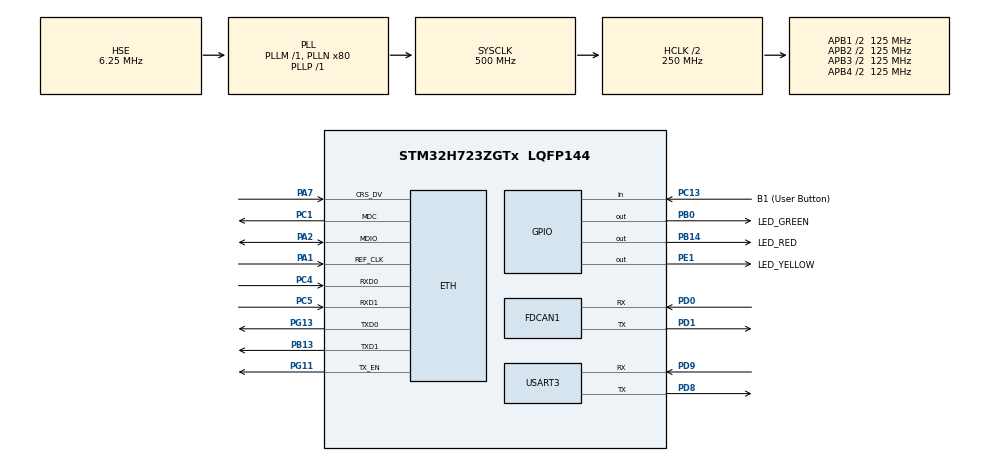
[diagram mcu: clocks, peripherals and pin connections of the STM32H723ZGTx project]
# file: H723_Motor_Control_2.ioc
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CORTEX_M7.AccessPermission-Cortex_Memory_Protection_Unit_Region1_Settings=MPU_REGION_FULL_ACCESS
CORTEX_M7.AccessPermission-Cortex_Memory_Protection_Unit_Region2_Settings=MPU_REGION_FULL_ACCESS
CORTEX_M7.AccessPermission_S-Cortex_Memory_Protection_Unit_Region1_Settings_S=MPU_REGION_FULL_ACCESS
CORTEX_M7.AccessPermission_S-Cortex_Memory_Protection_Unit_Region2_Settings_S=MPU_REGION_FULL_ACCESS
CORTEX_M7.BaseAddress-Cortex_Memory_Protection_Unit_Region1_Settings=0x30000000
CORTEX_M7.BaseAddress-Cortex_Memory_Protection_Unit_Region2_Settings=0x30004000
CORTEX_M7.BaseAddress_S-Cortex_Memory_Protection_Unit_Region1_Settings_S=0x30000000
CORTEX_M7.BaseAddress_S-Cortex_Memory_Protection_Unit_Region2_Settings_S=0x30004000
CORTEX_M7.CPU_DCache=Enabled
CORTEX_M7.CPU_ICache=Enabled
CORTEX_M7.DisableExec-Cortex_Memory_Protection_Unit_Region0_Settings=MPU_INSTRUCTION_ACCESS_DISABLE
CORTEX_M7.Enable-Cortex_Memory_Protection_Unit_Region0_Settings=MPU_REGION_ENABLE
CORTEX_M7.Enable-Cortex_Memory_Protection_Unit_Region1_Settings=MPU_REGION_ENABLE
CORTEX_M7.Enable-Cortex_Memory_Protection_Unit_Region2_Settings=MPU_REGION_ENABLE
CORTEX_M7.Enable_S-Cortex_Memory_Protection_Unit_Region1_Settings_S=MPU_REGION_ENABLE
CORTEX_M7.Enable_S-Cortex_Memory_Protection_Unit_Region2_Settings_S=MPU_REGION_ENABLE
CORTEX_M7.IsBufferable-Cortex_Memory_Protection_Unit_Region1_Settings=MPU_ACCESS_BUFFERABLE
CORTEX_M7.IsBufferable_S-Cortex_Memory_Protection_Unit_Region1_Settings_S=MPU_ACCESS_BUFFERABLE
CORTEX_M7.IsShareable-Cortex_Memory_Protection_Unit_Region0_Settings=MPU_ACCESS_SHAREABLE
CORTEX_M7.IsShareable-Cortex_Memory_Protection_Unit_Region2_Settings=MPU_ACCESS_SHAREABLE
CORTEX_M7.IsShareable_S-Cortex_Memory_Protection_Unit_Region2_Settings_S=MPU_ACCESS_SHAREABLE
CORTEX_M7.MPU_Control=MPU_PRIVILEGED_DEFAULT
CORTEX_M7.Size-Cortex_Memory_Protection_Unit_Region0_Settings=MPU_REGION_SIZE_4GB
CORTEX_M7.Size-Cortex_Memory_Protection_Unit_Region1_Settings=MPU_REGION_SIZE_1KB
CORTEX_M7.Size-Cortex_Memory_Protection_Unit_Region2_Settings=MPU_REGION_SIZE_16KB
CORTEX_M7.Size_S-Cortex_Memory_Protection_Unit_Region1_Settings_S=MPU_REGION_SIZE_1KB
CORTEX_M7.Size_S-Cortex_Memory_Protection_Unit_Region2_Settings_S=MPU_REGION_SIZE_16KB
CORTEX_M7.SubRegionDisable-Cortex_Memory_Protection_Unit_Region0_Settings=0x87
CORTEX_M7.TypeExtField-Cortex_Memory_Protection_Unit_Region2_Settings=MPU_TEX_LEVEL1
CORTEX_M7.TypeExtField_S-Cortex_Memory_Protection_Unit_Region2_Settings_S=MPU_TEX_LEVEL1
CORTEX_M7.default_mode_Activation=0
ETH.MediaInterface=HAL_ETH_RMII_MODE
ETH.RxBuffLen=1536
ETH.RxBufferAddress=0x30000200
ETH.TxDescAddress=0x30000100
FDCAN1.AutoRetransmission=ENABLE
FDCAN1.CalculateBaudRateNominal=1000000
FDCAN1.CalculateTimeBitNominal=1000
FDCAN1.CalculateTimeQuantumNominal=50.0
FDCAN1.NominalPrescaler=5
FDCAN1.NominalTimeSeg1=15
FDCAN1.NominalTimeSeg2=4
FDCAN1.RxFifo0ElmtsNbr=8
FDCAN1.StdFiltersNbr=1
FDCAN1.TxFifoQueueElmtsNbr=3
LWIP.BSP.number=1
LWIP.GATEWAY_ADDRESS=192.168.050.001
LWIP.IP_ADDRESS=192.168.050.123
LWIP.LWIP_DHCP=0
LWIP.MEM_SIZE=10*1024
LWIP.NETMASK_ADDRESS=255.255.255.000
LWIP.PBUF_POOL_BUFSIZE=1536
LWIP.TCP_QUEUE_OOSEQ=0
LWIP.Version=v2.1.2_Cube
LWIP0.BSP.STBoard=false
LWIP0.BSP.api=BSP_COMPONENT_DRIVER
LWIP0.BSP.component=LAN8742
LWIP0.BSP.instance=LAN8742
LWIP0.BSP.name=Driver_PHY
LWIP0.BSP.semaphore=S_LAN8742
LWIP0.BSP.solution=LAN8742
Mcu.Family=STM32H7
Mcu.Name=STM32H723ZGTx
Mcu.Package=LQFP144
NVIC.ETH_IRQn=true\:0\:0\:false\:false\:true\:true\:true\:true
NVIC.PriorityGroup=NVIC_PRIORITYGROUP_4
NVIC.TIM2_IRQn=true\:0\:0\:false\:false\:true\:true\:true\:true
PA1.GPIO_Speed=GPIO_SPEED_FREQ_VERY_HIGH
PA1.Mode=RMII
PA1.Signal=ETH_REF_CLK
PA13(JTMS/SWDIO).GPIO_Label=SWDIO
PA13(JTMS/SWDIO).Signal=DEBUG_JTMS-SWDIO
PA14(JTCK/SWCLK).GPIO_Label=SWCLK
PA14(JTCK/SWCLK).Signal=DEBUG_JTCK-SWCLK
PA2.GPIO_Speed=GPIO_SPEED_FREQ_VERY_HIGH
PA2.Mode=RMII
PA2.Signal=ETH_MDIO
PA7.GPIO_Speed=GPIO_SPEED_FREQ_VERY_HIGH
PA7.Mode=RMII
PA7.Signal=ETH_CRS_DV
PB0.GPIO_Label=LED_GREEN
PB0.Signal=GPIO_Output
PB13.GPIO_Speed=GPIO_SPEED_FREQ_VERY_HIGH
PB13.Mode=RMII
PB13.Signal=ETH_TXD1
PB14.GPIO_Label=LED_RED
PB14.Signal=GPIO_Output
PC1.GPIO_Speed=GPIO_SPEED_FREQ_VERY_HIGH
PC1.Mode=RMII
PC1.Signal=ETH_MDC
PC13.GPIO_Label=B1 (User Button)
PC13.Signal=GPIO_Input
PC14-OSC32_IN.Signal=RCC_OSC32_IN
PC15-OSC32_OUT.Signal=RCC_OSC32_OUT
PC4.GPIO_Speed=GPIO_SPEED_FREQ_VERY_HIGH
PC4.Mode=RMII
PC4.Signal=ETH_RXD0
PC5.GPIO_Speed=GPIO_SPEED_FREQ_VERY_HIGH
PC5.Mode=RMII
PC5.Signal=ETH_RXD1
PD0.GPIO_Speed=GPIO_SPEED_FREQ_VERY_HIGH
PD0.Mode=FDCAN_Activate
PD0.Signal=FDCAN1_RX
PD1.GPIO_Speed=GPIO_SPEED_FREQ_VERY_HIGH
PD1.Mode=FDCAN_Activate
PD1.Signal=FDCAN1_TX
PD8.Mode=Asynchronous
PD8.Signal=USART3_TX
PD9.Mode=Asynchronous
PD9.Signal=USART3_RX
PE1.GPIO_Label=LED_YELLOW
PE1.Signal=GPIO_Output
PG11.GPIO_Speed=GPIO_SPEED_FREQ_VERY_HIGH
PG11.Mode=RMII
PG11.Signal=ETH_TX_EN
PG13.GPIO_Speed=GPIO_SPEED_FREQ_VERY_HIGH
PG13.Mode=RMII
PG13.Signal=ETH_TXD0
PH0-OSC_IN.Mode=HSE-External-Oscillator
PH0-OSC_IN.Signal=RCC_OSC_IN
PH1-OSC_OUT.Mode=HSE-External-Oscillator
PH1-OSC_OUT.Signal=RCC_OSC_OUT
ProjectManager.HeapSize=0x400
ProjectManager.StackSize=0x800
ProjectManager.TargetToolchain=STM32CubeIDE
RCC.ADCFreq_Value=59375000
RCC.APB1Freq_Value=125000000
RCC.APB2Freq_Value=125000000
RCC.APB3Freq_Value=125000000
RCC.APB4Freq_Value=125000000
RCC.CortexFreq_Value=500000000
RCC.D1PPRE=RCC_APB3_DIV2
RCC.D2PPRE1=RCC_APB1_DIV2
RCC.D2PPRE2=RCC_APB2_DIV2
RCC.D3PPRE=RCC_APB4_DIV2
RCC.DIVM1=1
RCC.DIVM2=1
RCC.DIVN1=80
RCC.DIVN2=19
RCC.DIVP1=1
RCC.DIVQ1=5
RCC.HCLKFreq_Value=250000000
RCC.HPRE=RCC_HCLK_DIV2
RCC.HSE_VALUE=6250000
RCC.PLLFRACN=0
RCC.PLLSourceVirtual=RCC_PLLSOURCE_HSE
RCC.SYSCLKFreq_VALUE=500000000
RCC.SYSCLKSource=RCC_SYSCLKSOURCE_PLLCLK
RCC.USBCLockSelection=RCC_USBCLKSOURCE_HSI48
RCC.USBFreq_Value=48000000
TIM2.Period=1000-1
TIM2.Prescaler=250-1
USART3.VirtualMode-Asynchronous=VM_ASYNC
VP_LWIP_VS_Enabled.Mode=Enabled
VP_MEMORYMAP_VS_MEMORYMAP.Mode=CurAppReg
VP_TIM2_VS_ClockSourceINT.Mode=Internal
board=NUCLEO-H723ZG

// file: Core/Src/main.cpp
/* USER CODE BEGIN Header */
/**
  ******************************************************************************
  * @file           : main.c
  * @brief          : Main program body
  ******************************************************************************
  * @attention
  *
  * Copyright (c) 2025 STMicroelectronics.
  * All rights reserved.
  *
  * This software is licensed under terms that can be found in the LICENSE file
  * in the root directory of this software component.
  * If no LICENSE file comes with this software, it is provided AS-IS.
  *
  ******************************************************************************
  */
/* USER CODE END Header */
#include "main.h"
#include "lwip.h"

/* USER CODE BEGIN Includes */
#include <cmath>
#include <cstdio>
#include <cstring>
#include <cstdint>
#include "udp_client.h"
#include "udp_app.h"
#include "udp_app.h"
#include "myactuator_rmd/actuator_interface.hpp"
#include "myactuator_rmd/actuator_state/acceleration_type.hpp"
#include "myactuator_rmd/actuator_state/feedback.hpp"
#include "stm32_can_driver.hpp"
#include "stm32h7xx_ll_usart.h"
#include <algorithm>   // for std::clamp
/* USER CODE END Includes */

FDCAN_HandleTypeDef hfdcan1;

TIM_HandleTypeDef htim2;

UART_HandleTypeDef huart3;

/* USER CODE BEGIN PV */
extern uint8_t netif_up_flag;

namespace {
  constexpr uint32_t kMotorCanId = 1U;
  constexpr uint32_t kSpeedAccelDps2 = 8000U;
  constexpr float kDesiredAngleDeg = 0.0f;
  constexpr float kSpringCoefficient = 0.00002f;
  constexpr float kTorqueLimitNm = 4.0f;
  constexpr float kTorqueConstantNmPerA = 0.18f;
  constexpr uint32_t kLedBlinkPeriodMs = 500U;
  }
/* USER CODE END PV */

void SystemClock_Config(void);
static void MPU_Config(void);
static void MX_GPIO_Init(void);
static void MX_FDCAN1_Init(void);
static void MX_TIM2_Init(void);
static void MX_USART3_UART_Init(void);
/* USER CODE BEGIN PFP */
static void ConfigureMotor(myactuator_rmd::ActuatorInterface& motor);
static void PrintText(const char* text);
static void PrintFeedback(myactuator_rmd::Feedback const& feedback);
static void PrintRawBytes(uint8_t const* data, uint16_t length);
static void WriteAccelerationRaw(std::uint32_t acceleration, myactuator_rmd::AccelerationType mode);
static void InitCycleCounter(void);
static char const* ControlModeToString(myactuator_rmd::ControlMode mode);
/* USER CODE END PFP */

/* USER CODE BEGIN 0 */
extern "C" int _write(int file, char *ptr, int len)
{
    HAL_UART_Transmit(&huart3, reinterpret_cast<uint8_t *>(ptr),
                      len,
                      HAL_UART_TIMEOUT_VALUE);
    return len;
}

/* USER CODE END 0 */

int main(void)
{

  /* MPU Configuration--------------------------------------------------------*/
  MPU_Config();

  /* Enable the CPU Cache */

  /* Enable I-Cache---------------------------------------------------------*/
  SCB_EnableICache();

  /* Enable D-Cache---------------------------------------------------------*/
  SCB_EnableDCache();

  /* MCU Configuration--------------------------------------------------------*/

  /* Reset of all peripherals, Initializes the Flash interface and the Systick. */
  HAL_Init();

  /* Configure the system clock */
  SystemClock_Config();

  /* Initialize all configured peripherals */
  MX_GPIO_Init();
  MX_FDCAN1_Init();
  MX_TIM2_Init();
  MX_USART3_UART_Init();
  MX_LWIP_Init();
  InitCycleCounter();
  float const cycles_to_microseconds = 1.0e6f / static_cast<float>(SystemCoreClock);
  /* USER CODE BEGIN 2 */
  HAL_GPIO_WritePin(LED_RED_GPIO_Port, LED_RED_Pin, GPIO_PIN_SET);  // turn on
  while (!netif_up_flag) {
      MX_LWIP_Process();
  }
  HAL_GPIO_WritePin(LED_RED_GPIO_Port, LED_RED_Pin, GPIO_PIN_RESET); // turn off

  udp_app_init();

  Stm32CanDriver can_driver(&hfdcan1);
  myactuator_rmd::ActuatorInterface motor(can_driver, kMotorCanId);

  if (HAL_FDCAN_Start(&hfdcan1) != HAL_OK)
  {
    Error_Handler();
  }

  ConfigureMotor(motor);
  PrintText("\r\nStarting virtual spring torque control...\r\n");

  // Ensure the motor is in torque/current loop before entering real-time control.
  {
    try
    {
      motor.sendTorqueSetpoint(0.0f, kTorqueConstantNmPerA);
      auto const control_mode = motor.getControlMode();
      char buffer[128];
      std::snprintf(buffer,
                    sizeof(buffer),
                    "Motor control mode: %s (0x%02X)\r\n",
                    ControlModeToString(control_mode),
                    static_cast<unsigned>(static_cast<std::uint8_t>(control_mode)));
      PrintText(buffer);
      if (control_mode != myactuator_rmd::ControlMode::CURRENT)
      {
        PrintText("Warning: motor did not report CURRENT loop mode.\r\n");
      }
    }
    catch (const myactuator_rmd::Exception& error)
    {
      char buffer[128];
      std::snprintf(buffer, sizeof(buffer), "Failed to enter torque mode: %s\r\n", error.what());
      PrintText(buffer);
      Error_Handler();
    }
  }

  uint32_t last_led_toggle = 0U;

  /* USER CODE END 2 */

  /* Infinite loop */
  /* USER CODE BEGIN WHILE */
  while (1)
  {
    uint32_t const loop_start_cycles = DWT->CYCCNT;
    bool pending_reply = false;
    myactuator_rmd::Feedback pending_feedback{};
    float pending_torque_cmd = 0.0f;
    float pending_can_time_us = 0.0f;

    MX_LWIP_Process();  // pump lwIP every iteration

    uint32_t const now = HAL_GetTick();

    uint8_t cmd[32];
    uint16_t n = udp_app_try_get_latest(cmd, sizeof(cmd));
    if (n > 0)
    {
      if (n >= sizeof(cmd))
      {
        n = sizeof(cmd) - 1;
      }
      cmd[n] = '\0';

      if (std::strncmp(reinterpret_cast<char*>(cmd), "TORQUE,", 7) == 0)
      {
        char* end = nullptr;
        float new_torque = std::strtof(reinterpret_cast<char*>(cmd) + 7, &end);
        if (end != reinterpret_cast<char*>(cmd) + 7)
        {
          new_torque = std::clamp(new_torque, -kTorqueLimitNm, kTorqueLimitNm);

          pending_feedback = motor.sendTorqueSetpoint(new_torque, kTorqueConstantNmPerA);
          pending_can_time_us = can_driver.getLastWaitTimeUs();
          pending_torque_cmd = new_torque;
          pending_reply = true;
        }
      }
    }

    if ((now - last_led_toggle) >= kLedBlinkPeriodMs)
    {
      HAL_GPIO_TogglePin(LED_GREEN_GPIO_Port, LED_GREEN_Pin);
      last_led_toggle = now;
    }

    uint32_t const loop_cycles = DWT->CYCCNT - loop_start_cycles;
    float const loop_time_us = static_cast<float>(loop_cycles) * cycles_to_microseconds;

    if (pending_reply)
    {
      char resp[160];
      int len = std::snprintf(resp,
                              sizeof(resp),
                              "ANGLE,%.3f,CURRENT,%.3f,TORQUE,%.3f,LOOP_US,%.1f,WAIT_US,%.1f\n",
                              pending_feedback.shaft_angle,
                              pending_feedback.current,
                              pending_torque_cmd,
                              loop_time_us,
                              pending_can_time_us);
      if (len > 0)
      {
        udp_app_send_reply(resp, static_cast<uint16_t>(len));
      }
    }
  /* USER CODE END WHILE */

  }
}

void SystemClock_Config(void)
{
  RCC_OscInitTypeDef RCC_OscInitStruct = {0};
  RCC_ClkInitTypeDef RCC_ClkInitStruct = {0};

  /** Supply configuration update enable
  */
  HAL_PWREx_ConfigSupply(PWR_LDO_SUPPLY);

  /** Configure the main internal regulator output voltage
  */
  __HAL_PWR_VOLTAGESCALING_CONFIG(PWR_REGULATOR_VOLTAGE_SCALE0);

  while(!__HAL_PWR_GET_FLAG(PWR_FLAG_VOSRDY)) {}

  /** Initializes the RCC Oscillators according to the specified parameters
  * in the RCC_OscInitTypeDef structure.
  */
  RCC_OscInitStruct.OscillatorType = RCC_OSCILLATORTYPE_HSE;
  RCC_OscInitStruct.HSEState = RCC_HSE_ON;
  RCC_OscInitStruct.PLL.PLLState = RCC_PLL_ON;
  RCC_OscInitStruct.PLL.PLLSource = RCC_PLLSOURCE_HSE;
  RCC_OscInitStruct.PLL.PLLM = 1;
  RCC_OscInitStruct.PLL.PLLN = 80;
  RCC_OscInitStruct.PLL.PLLP = 1;
  RCC_OscInitStruct.PLL.PLLQ = 5;
  RCC_OscInitStruct.PLL.PLLR = 2;
  RCC_OscInitStruct.PLL.PLLRGE = RCC_PLL1VCIRANGE_2;
  RCC_OscInitStruct.PLL.PLLVCOSEL = RCC_PLL1VCOWIDE;
  RCC_OscInitStruct.PLL.PLLFRACN = 0;
  if (HAL_RCC_OscConfig(&RCC_OscInitStruct) != HAL_OK)
  {
    Error_Handler();
  }

  /** Initializes the CPU, AHB and APB buses clocks
  */
  RCC_ClkInitStruct.ClockType = RCC_CLOCKTYPE_HCLK|RCC_CLOCKTYPE_SYSCLK
                              |RCC_CLOCKTYPE_PCLK1|RCC_CLOCKTYPE_PCLK2
                              |RCC_CLOCKTYPE_D3PCLK1|RCC_CLOCKTYPE_D1PCLK1;
  RCC_ClkInitStruct.SYSCLKSource = RCC_SYSCLKSOURCE_PLLCLK;
  RCC_ClkInitStruct.SYSCLKDivider = RCC_SYSCLK_DIV1;
  RCC_ClkInitStruct.AHBCLKDivider = RCC_HCLK_DIV2;
  RCC_ClkInitStruct.APB3CLKDivider = RCC_APB3_DIV2;
  RCC_ClkInitStruct.APB1CLKDivider = RCC_APB1_DIV2;
  RCC_ClkInitStruct.APB2CLKDivider = RCC_APB2_DIV2;
  RCC_ClkInitStruct.APB4CLKDivider = RCC_APB4_DIV2;

  if (HAL_RCC_ClockConfig(&RCC_ClkInitStruct, FLASH_LATENCY_3) != HAL_OK)
  {
    Error_Handler();
  }
}

static void MX_FDCAN1_Init(void)
{

  hfdcan1.Instance = FDCAN1;
  hfdcan1.Init.FrameFormat = FDCAN_FRAME_CLASSIC;
  hfdcan1.Init.Mode = FDCAN_MODE_NORMAL;
  hfdcan1.Init.AutoRetransmission = ENABLE;
  hfdcan1.Init.TransmitPause = DISABLE;
  hfdcan1.Init.ProtocolException = DISABLE;
  hfdcan1.Init.NominalPrescaler = 5;
  hfdcan1.Init.NominalSyncJumpWidth = 1;
  hfdcan1.Init.NominalTimeSeg1 = 15;
  hfdcan1.Init.NominalTimeSeg2 = 4;
  hfdcan1.Init.DataPrescaler = 1;
  hfdcan1.Init.DataSyncJumpWidth = 1;
  hfdcan1.Init.DataTimeSeg1 = 1;
  hfdcan1.Init.DataTimeSeg2 = 1;
  hfdcan1.Init.MessageRAMOffset = 0;
  hfdcan1.Init.StdFiltersNbr = 1;
  hfdcan1.Init.ExtFiltersNbr = 0;
  hfdcan1.Init.RxFifo0ElmtsNbr = 8;
  hfdcan1.Init.RxFifo0ElmtSize = FDCAN_DATA_BYTES_8;
  hfdcan1.Init.RxFifo1ElmtsNbr = 0;
  hfdcan1.Init.RxFifo1ElmtSize = FDCAN_DATA_BYTES_8;
  hfdcan1.Init.RxBuffersNbr = 0;
  hfdcan1.Init.RxBufferSize = FDCAN_DATA_BYTES_8;
  hfdcan1.Init.TxEventsNbr = 0;
  hfdcan1.Init.TxBuffersNbr = 0;
  hfdcan1.Init.TxFifoQueueElmtsNbr = 3;
  hfdcan1.Init.TxFifoQueueMode = FDCAN_TX_FIFO_OPERATION;
  hfdcan1.Init.TxElmtSize = FDCAN_DATA_BYTES_8;
  if (HAL_FDCAN_Init(&hfdcan1) != HAL_OK)
  {
    Error_Handler();
  }

}

static void MX_TIM2_Init(void)
{

  TIM_ClockConfigTypeDef sClockSourceConfig = {0};
  TIM_MasterConfigTypeDef sMasterConfig = {0};

  htim2.Instance = TIM2;
  htim2.Init.Prescaler = 250-1;
  htim2.Init.CounterMode = TIM_COUNTERMODE_UP;
  htim2.Init.Period = 1000-1;
  htim2.Init.ClockDivision = TIM_CLOCKDIVISION_DIV1;
  htim2.Init.AutoReloadPreload = TIM_AUTORELOAD_PRELOAD_DISABLE;
  if (HAL_TIM_Base_Init(&htim2) != HAL_OK)
  {
    Error_Handler();
  }
  sClockSourceConfig.ClockSource = TIM_CLOCKSOURCE_INTERNAL;
  if (HAL_TIM_ConfigClockSource(&htim2, &sClockSourceConfig) != HAL_OK)
  {
    Error_Handler();
  }
  sMasterConfig.MasterOutputTrigger = TIM_TRGO_RESET;
  sMasterConfig.MasterSlaveMode = TIM_MASTERSLAVEMODE_DISABLE;
  if (HAL_TIMEx_MasterConfigSynchronization(&htim2, &sMasterConfig) != HAL_OK)
  {
    Error_Handler();
  }

}

static void MX_USART3_UART_Init(void)
{

  huart3.Instance = USART3;
  huart3.Init.BaudRate = 115200;
  huart3.Init.WordLength = UART_WORDLENGTH_8B;
  huart3.Init.StopBits = UART_STOPBITS_1;
  huart3.Init.Parity = UART_PARITY_NONE;
  huart3.Init.Mode = UART_MODE_TX_RX;
  huart3.Init.HwFlowCtl = UART_HWCONTROL_NONE;
  huart3.Init.OverSampling = UART_OVERSAMPLING_16;
  huart3.Init.OneBitSampling = UART_ONE_BIT_SAMPLE_DISABLE;
  huart3.Init.ClockPrescaler = UART_PRESCALER_DIV1;
  huart3.AdvancedInit.AdvFeatureInit = UART_ADVFEATURE_NO_INIT;
  if (HAL_UART_Init(&huart3) != HAL_OK)
  {
    Error_Handler();
  }
  if (HAL_UARTEx_SetTxFifoThreshold(&huart3, UART_TXFIFO_THRESHOLD_1_8) != HAL_OK)
  {
    Error_Handler();
  }
  if (HAL_UARTEx_SetRxFifoThreshold(&huart3, UART_RXFIFO_THRESHOLD_1_8) != HAL_OK)
  {
    Error_Handler();
  }
  if (HAL_UARTEx_DisableFifoMode(&huart3) != HAL_OK)
  {
    Error_Handler();
  }

}

static void MX_GPIO_Init(void)
{
  GPIO_InitTypeDef GPIO_InitStruct = {0};

  /* GPIO Ports Clock Enable */
  __HAL_RCC_GPIOC_CLK_ENABLE();
  __HAL_RCC_GPIOH_CLK_ENABLE();
  __HAL_RCC_GPIOA_CLK_ENABLE();
  __HAL_RCC_GPIOB_CLK_ENABLE();
  __HAL_RCC_GPIOD_CLK_ENABLE();
  __HAL_RCC_GPIOG_CLK_ENABLE();
  __HAL_RCC_GPIOE_CLK_ENABLE();

  /*Configure GPIO pin Output Level */
  HAL_GPIO_WritePin(GPIOB, LED_GREEN_Pin|LED_RED_Pin, GPIO_PIN_RESET);

  /*Configure GPIO pin Output Level */
  HAL_GPIO_WritePin(LED_YELLOW_GPIO_Port, LED_YELLOW_Pin, GPIO_PIN_RESET);

  /*Configure GPIO pin : B1_Pin */
  GPIO_InitStruct.Pin = B1_Pin;
  GPIO_InitStruct.Mode = GPIO_MODE_INPUT;
  GPIO_InitStruct.Pull = GPIO_NOPULL;
  HAL_GPIO_Init(B1_GPIO_Port, &GPIO_InitStruct);

  /*Configure GPIO pins : LED_GREEN_Pin LED_RED_Pin */
  GPIO_InitStruct.Pin = LED_GREEN_Pin|LED_RED_Pin;
  GPIO_InitStruct.Mode = GPIO_MODE_OUTPUT_PP;
  GPIO_InitStruct.Pull = GPIO_NOPULL;
  GPIO_InitStruct.Speed = GPIO_SPEED_FREQ_LOW;
  HAL_GPIO_Init(GPIOB, &GPIO_InitStruct);

  /*Configure GPIO pin : LED_YELLOW_Pin */
  GPIO_InitStruct.Pin = LED_YELLOW_Pin;
  GPIO_InitStruct.Mode = GPIO_MODE_OUTPUT_PP;
  GPIO_InitStruct.Pull = GPIO_NOPULL;
  GPIO_InitStruct.Speed = GPIO_SPEED_FREQ_LOW;
  HAL_GPIO_Init(LED_YELLOW_GPIO_Port, &GPIO_InitStruct);

}

/* USER CODE BEGIN 4 */
static void InitCycleCounter(void)
{
  CoreDebug->DEMCR |= CoreDebug_DEMCR_TRCENA_Msk;
  DWT->CYCCNT = 0U;
  DWT->CTRL |= DWT_CTRL_CYCCNTENA_Msk;
}

static void ConfigureMotor(myactuator_rmd::ActuatorInterface& motor)
{
  try
  {
    PrintText("Releasing brake...\r\n");
    motor.releaseBrake();
    PrintText("Configuring acceleration limits...\r\n");
    WriteAccelerationRaw(kSpeedAccelDps2, myactuator_rmd::AccelerationType::VELOCITY_PLANNING_ACCELERATION);
    WriteAccelerationRaw(kSpeedAccelDps2, myactuator_rmd::AccelerationType::VELOCITY_PLANNING_DECELERATION);
  }
  catch (const myactuator_rmd::Exception& error)
  {
    char buffer[128];
    std::snprintf(buffer, sizeof(buffer), "RMD driver error: %s\r\n", error.what());
    PrintText(buffer);
    HAL_GPIO_WritePin(LED_RED_GPIO_Port, LED_RED_Pin, GPIO_PIN_SET);
    Error_Handler();
  }
}

static char const* ControlModeToString(myactuator_rmd::ControlMode mode)
{
  switch (mode)
  {
    case myactuator_rmd::ControlMode::CURRENT:   return "CURRENT";
    case myactuator_rmd::ControlMode::VELOCITY:  return "VELOCITY";
    case myactuator_rmd::ControlMode::POSITION:  return "POSITION";
    default:                                     return "NONE";
  }
}

static void PrintText(const char* text)
{
  if ((text == nullptr) || (std::strlen(text) == 0U))
  {
    return;
  }
  auto const length = static_cast<uint16_t>(std::strlen(text));
  HAL_UART_Transmit(&huart3, reinterpret_cast<uint8_t const*>(text), length, HAL_MAX_DELAY);
}

static void PrintFeedback(myactuator_rmd::Feedback const& feedback)
{
  char buffer[128];
  auto const written = std::snprintf(
      buffer,
      sizeof(buffer),
      "T:%dC  I:%.2fA  Speed:%.1fdps  Angle:%.1fdeg\r\n",
      feedback.temperature,
      feedback.current,
      feedback.shaft_speed,
      feedback.shaft_angle);
  if (written <= 0)
  {
    return;
  }
  auto const length = static_cast<uint16_t>(written);
  PrintRawBytes(reinterpret_cast<uint8_t const*>(buffer), length);
}

static void WriteAccelerationRaw(std::uint32_t acceleration, myactuator_rmd::AccelerationType mode)
{
  uint8_t payload[7] = {};
  payload[0] = static_cast<uint8_t>(mode);
  payload[3] = static_cast<uint8_t>(acceleration & 0xFF);
  payload[4] = static_cast<uint8_t>((acceleration >> 8) & 0xFF);
  payload[5] = static_cast<uint8_t>((acceleration >> 16) & 0xFF);
  payload[6] = static_cast<uint8_t>((acceleration >> 24) & 0xFF);

  FDCAN_TxHeaderTypeDef header {};
  header.Identifier = 0x140 + kMotorCanId;
  header.IdType = FDCAN_STANDARD_ID;
  header.TxFrameType = FDCAN_DATA_FRAME;
  header.DataLength = FDCAN_DLC_BYTES_8;
  header.ErrorStateIndicator = FDCAN_ESI_ACTIVE;
  header.BitRateSwitch = FDCAN_BRS_OFF;
  header.FDFormat = FDCAN_CLASSIC_CAN;
  header.TxEventFifoControl = FDCAN_NO_TX_EVENTS;
  header.MessageMarker = 0;

  uint8_t frame[8] = {};
  frame[0] = 0x43;
  std::memcpy(&frame[1], payload, sizeof(payload));

  HAL_FDCAN_AddMessageToTxFifoQ(&hfdcan1, &header, frame);

  FDCAN_RxHeaderTypeDef rx_header {};
  uint8_t rx_data[8] = {};
  auto const start = HAL_GetTick();
  while ((HAL_GetTick() - start) < 100U)
  {
    if (HAL_FDCAN_GetRxFifoFillLevel(&hfdcan1, FDCAN_RX_FIFO0) == 0U)
    {
      continue;
    }
    if (HAL_FDCAN_GetRxMessage(&hfdcan1, FDCAN_RX_FIFO0, &rx_header, rx_data) == HAL_OK)
    {
      break;
    }
  }
}

static void PrintRawBytes(uint8_t const* data, uint16_t length)
{
  for (uint16_t i = 0; i < length; ++i)
  {
    while (__HAL_UART_GET_FLAG(&huart3, UART_FLAG_TXE) == RESET) {}
    LL_USART_TransmitData8(huart3.Instance, data[i]);
  }
}

/* USER CODE END 4 */

 /* MPU Configuration */

void MPU_Config(void)
{
  MPU_Region_InitTypeDef MPU_InitStruct = {0};

  /* Disables the MPU */
  HAL_MPU_Disable();

  /** Initializes and configures the Region and the memory to be protected
  */
  MPU_InitStruct.Enable = MPU_REGION_ENABLE;
  MPU_InitStruct.Number = MPU_REGION_NUMBER0;
  MPU_InitStruct.BaseAddress = 0x0;
  MPU_InitStruct.Size = MPU_REGION_SIZE_4GB;
  MPU_InitStruct.SubRegionDisable = 0x87;
  MPU_InitStruct.TypeExtField = MPU_TEX_LEVEL0;
  MPU_InitStruct.AccessPermission = MPU_REGION_NO_ACCESS;
  MPU_InitStruct.DisableExec = MPU_INSTRUCTION_ACCESS_DISABLE;
  MPU_InitStruct.IsShareable = MPU_ACCESS_SHAREABLE;
  MPU_InitStruct.IsCacheable = MPU_ACCESS_NOT_CACHEABLE;
  MPU_InitStruct.IsBufferable = MPU_ACCESS_NOT_BUFFERABLE;

  HAL_MPU_ConfigRegion(&MPU_InitStruct);

  /** Initializes and configures the Region and the memory to be protected
  */
  MPU_InitStruct.Number = MPU_REGION_NUMBER1;
  MPU_InitStruct.BaseAddress = 0x30000000;
  MPU_InitStruct.Size = MPU_REGION_SIZE_1KB;
  MPU_InitStruct.SubRegionDisable = 0x0;
  MPU_InitStruct.AccessPermission = MPU_REGION_FULL_ACCESS;
  MPU_InitStruct.DisableExec = MPU_INSTRUCTION_ACCESS_ENABLE;
  MPU_InitStruct.IsShareable = MPU_ACCESS_NOT_SHAREABLE;
  MPU_InitStruct.IsBufferable = MPU_ACCESS_BUFFERABLE;

  HAL_MPU_ConfigRegion(&MPU_InitStruct);

  /** Initializes and configures the Region and the memory to be protected
  */
  MPU_InitStruct.Number = MPU_REGION_NUMBER2;
  MPU_InitStruct.BaseAddress = 0x30004000;
  MPU_InitStruct.Size = MPU_REGION_SIZE_16KB;
  MPU_InitStruct.TypeExtField = MPU_TEX_LEVEL1;
  MPU_InitStruct.IsShareable = MPU_ACCESS_SHAREABLE;
  MPU_InitStruct.IsBufferable = MPU_ACCESS_NOT_BUFFERABLE;

  HAL_MPU_ConfigRegion(&MPU_InitStruct);
  /* Enables the MPU */
  HAL_MPU_Enable(MPU_PRIVILEGED_DEFAULT);

}

void Error_Handler(void)
{
  __disable_irq();
  while (1)
  {
  }
}
